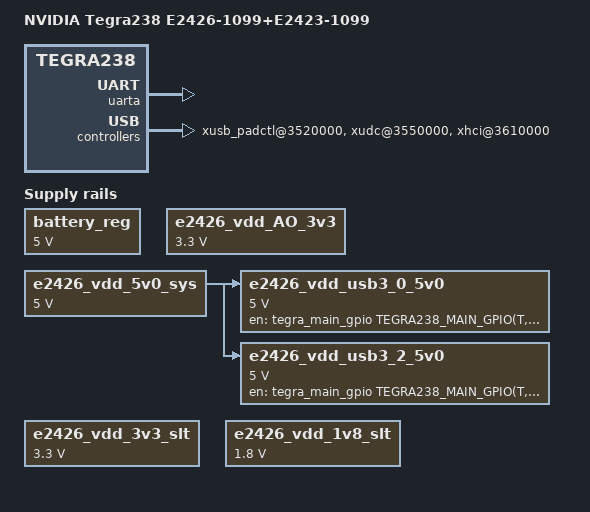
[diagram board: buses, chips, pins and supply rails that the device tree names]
/* SPDX-License-Identifier: (GPL-2.0-only OR BSD-2-Clause) */

/dts-v1/;

#include <dt-bindings/gpio/nvidia,tegra238-gpio.h>

#include "tegra238.dtsi"

/ {
	model = "NVIDIA Tegra238 E2426-1099+E2423-1099";
	compatible = "nvidia,e2426-1099+e2423-1099", "nvidia,tegra238";

	bus@0 {
		uarta: serial@3100000 {
			status = "okay";
		};

		xusb_padctl@3520000 {
			vclamp-usb-supply = <&e2426_vdd_1v8_slt>;
			avdd-usb-supply = <&e2426_vdd_3v3_slt>;
			status = "okay";

			pads {
				usb2 {
					lanes {
						usb2-0 {
							nvidia,function = "xusb";
							status = "okay";
						};
						usb2-1 {
							nvidia,function = "xusb";
							status = "okay";
						};
						usb2-2 {
							nvidia,function = "xusb";
							status = "okay";
						};

					};
				};
				usb3 {
					lanes {
						usb3-0 {
							nvidia,function = "xusb";
							status = "okay";
						};
					};
				};
			};

			ports {
				usb2-0 {
					mode = "peripheral";
					vbus-supply = <&battery_reg>;
					status = "okay";
				};
				usb2-1 {
					mode = "host";
					vbus-supply = <&e2426_vdd_usb3_0_5v0>;
					status = "okay";
				};
				usb2-2 {
					mode = "host";
					vbus-supply = <&e2426_vdd_usb3_2_5v0>;
					status = "okay";
				};
				usb3-0 {
					nvidia,usb2-companion = <1>;
					status = "okay";
				};
			};
		};

		xudc@3550000 {
			phys = <&{/bus@0/xusb_padctl@3520000/pads/usb2/lanes/usb2-0}>;
			phy-names = "usb2-0";
			nvidia,xusb-padctl = <&xusb_padctl>;
			status = "okay";
		};

		xhci@3610000 {
			phys = <&{/bus@0/xusb_padctl@3520000/pads/usb2/lanes/usb2-1}>,
				<&{/bus@0/xusb_padctl@3520000/pads/usb2/lanes/usb2-2}>,
				<&{/bus@0/xusb_padctl@3520000/pads/usb3/lanes/usb3-0}>;
			phy-names = "usb2-1", "usb2-2", "usb3-0";
			nvidia,xusb-padctl = <&xusb_padctl>;
			status = "okay";
		};
	};

	battery_reg: regulator-vdd-ac-bat {
		compatible = "regulator-fixed";
		regulator-name = "vdd-ac-bat";
		regulator-min-microvolt = <5000000>;
		regulator-max-microvolt = <5000000>;
		regulator-always-on;
	};

	e2426_vdd_AO_3v3: regulator-vdd-ao-3v3 {
		compatible = "regulator-fixed";
		regulator-name = "vdd-AO-3V3";
		regulator-min-microvolt = <3300000>;
		regulator-max-microvolt = <3300000>;
	};

	e2426_vdd_5v0_sys: regulator-vdd-5v0-sys {
		compatible = "regulator-fixed";
		regulator-name = "vdd-5v0-sys";
		regulator-min-microvolt = <5000000>;
		regulator-max-microvolt = <5000000>;
	};

	e2426_vdd_3v3_slt: regulator-vdd-3v3-slt {
		compatible = "regulator-fixed";
		regulator-name = "vdd-3v3-slt";
		regulator-always-on;
		regulator-min-microvolt = <3300000>;
		regulator-max-microvolt = <3300000>;
	};

	e2426_vdd_1v8_slt: regulator-vdd-1v8-slt {
		compatible = "regulator-fixed";
		regulator-name = "vdd-1v8-slt";
		regulator-always-on;
		regulator-min-microvolt = <1800000>;
		regulator-max-microvolt = <1800000>;
	};

	e2426_vdd_usb3_0_5v0: regulator-vdd-usb3-0-5v0 {
		compatible = "regulator-fixed";
		regulator-name = "vdd-usb3-0-5v0";
		regulator-min-microvolt = <5000000>;
		regulator-max-microvolt = <5000000>;
		vin-supply = <&e2426_vdd_5v0_sys>;
		gpio = <&tegra_main_gpio TEGRA238_MAIN_GPIO(T, 6) 0>;
		gpio-open-drain;
		enable-active-high;
	};

	e2426_vdd_usb3_2_5v0: regulator-vdd-usb3-2-5v0 {
		compatible = "regulator-fixed";
		regulator-name = "vdd-usb3-2-5v0";
		regulator-min-microvolt = <5000000>;
		regulator-max-microvolt = <5000000>;
		vin-supply = <&e2426_vdd_5v0_sys>;
		gpio = <&tegra_main_gpio TEGRA238_MAIN_GPIO(T, 7) 0>;
		gpio-open-drain;
		enable-active-high;
	};
};
